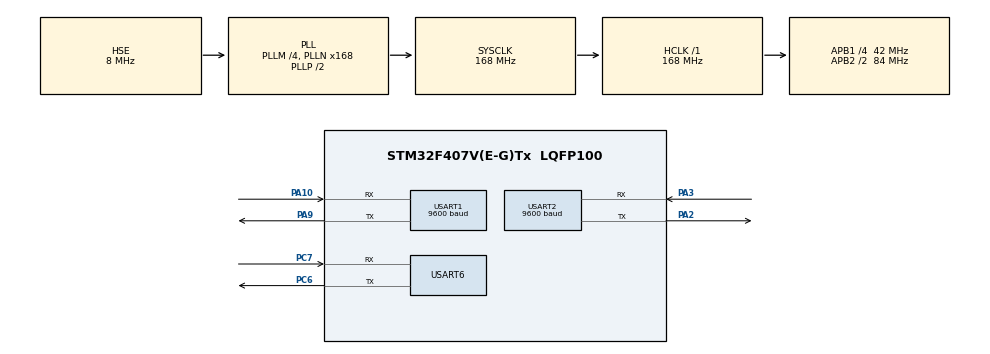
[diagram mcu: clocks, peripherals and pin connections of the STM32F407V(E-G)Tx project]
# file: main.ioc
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Dma.Request0=USART1_RX
Dma.Request1=USART2_RX
Dma.USART1_RX.0.Direction=DMA_PERIPH_TO_MEMORY
Dma.USART1_RX.0.FIFOMode=DMA_FIFOMODE_DISABLE
Dma.USART1_RX.0.Instance=DMA2_Stream2
Dma.USART1_RX.0.MemDataAlignment=DMA_MDATAALIGN_BYTE
Dma.USART1_RX.0.MemInc=DMA_MINC_ENABLE
Dma.USART1_RX.0.Mode=DMA_NORMAL
Dma.USART1_RX.0.PeriphDataAlignment=DMA_PDATAALIGN_BYTE
Dma.USART1_RX.0.PeriphInc=DMA_PINC_DISABLE
Dma.USART1_RX.0.Priority=DMA_PRIORITY_LOW
Dma.USART2_RX.1.Direction=DMA_PERIPH_TO_MEMORY
Dma.USART2_RX.1.FIFOMode=DMA_FIFOMODE_DISABLE
Dma.USART2_RX.1.Instance=DMA1_Stream5
Dma.USART2_RX.1.MemDataAlignment=DMA_MDATAALIGN_BYTE
Dma.USART2_RX.1.MemInc=DMA_MINC_ENABLE
Dma.USART2_RX.1.Mode=DMA_NORMAL
Dma.USART2_RX.1.PeriphDataAlignment=DMA_PDATAALIGN_BYTE
Dma.USART2_RX.1.PeriphInc=DMA_PINC_DISABLE
Dma.USART2_RX.1.Priority=DMA_PRIORITY_HIGH
Mcu.Family=STM32F4
Mcu.Name=STM32F407V(E-G)Tx
Mcu.Package=LQFP100
NVIC.DMA1_Stream5_IRQn=true\:0\:0\:false\:false\:true\:false
NVIC.DMA2_Stream2_IRQn=true\:0\:0\:false\:false\:true\:false
NVIC.PriorityGroup=NVIC_PRIORITYGROUP_4
NVIC.TIM2_IRQn=true\:0\:0\:false\:false\:true\:true
NVIC.USART1_IRQn=true\:0\:0\:false\:false\:true\:true
PA10.Mode=Asynchronous
PA10.Signal=USART1_RX
PA2.Mode=Asynchronous
PA2.Signal=USART2_TX
PA3.Mode=Asynchronous
PA3.Signal=USART2_RX
PA9.Mode=Asynchronous
PA9.Signal=USART1_TX
PC6.Mode=Asynchronous
PC6.Signal=USART6_TX
PC7.Mode=Asynchronous
PC7.Signal=USART6_RX
PH0-OSC_IN.Mode=HSE-External-Oscillator
PH0-OSC_IN.Signal=RCC_OSC_IN
PH1-OSC_OUT.Mode=HSE-External-Oscillator
PH1-OSC_OUT.Signal=RCC_OSC_OUT
ProjectManager.HeapSize=0x200
ProjectManager.StackSize=0x400
ProjectManager.TargetToolchain=MDK-ARM V5
RCC.48MHZClocksFreq_Value=84000000
RCC.AHBFreq_Value=168000000
RCC.APB1CLKDivider=RCC_HCLK_DIV4
RCC.APB1Freq_Value=42000000
RCC.APB1TimFreq_Value=84000000
RCC.APB2CLKDivider=RCC_HCLK_DIV2
RCC.APB2Freq_Value=84000000
RCC.APB2TimFreq_Value=168000000
RCC.CortexFreq_Value=168000000
RCC.HCLKFreq_Value=168000000
RCC.HSE_VALUE=8000000
RCC.HSI_VALUE=16000000
RCC.LSE_VALUE=32768
RCC.PLLM=4
RCC.PLLN=168
RCC.PLLSourceVirtual=RCC_PLLSOURCE_HSE
RCC.SYSCLKFreq_VALUE=168000000
RCC.SYSCLKSource=RCC_SYSCLKSOURCE_PLLCLK
RCC.VCOOutputFreq_Value=336000000
TIM2.Period=19
TIM2.Prescaler=41999
TIM3.Period=7
TIM3.Prescaler=41999
USART1.BaudRate=9600
USART1.VirtualMode=VM_ASYNC
USART2.BaudRate=9600
USART2.VirtualMode=VM_ASYNC
USART6.VirtualMode=VM_ASYNC
VP_TIM2_VS_ClockSourceINT.Mode=Internal
VP_TIM3_VS_ClockSourceINT.Mode=Internal
board=custom

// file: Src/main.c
/**
  ******************************************************************************
  * @file           : main.c
  * @brief          : Main program body
  ******************************************************************************
  ** This notice applies to any and all portions of this file
  * that are not between comment pairs USER CODE BEGIN and
  * USER CODE END. Other portions of this file, whether
  * inserted by the user or by software development tools
  * are owned by their respective copyright owners.
  *
  * COPYRIGHT(c) 2019 STMicroelectronics
  *
  * Redistribution and use in source and binary forms, with or without modification,
  * are permitted provided that the following conditions are met:
  *   1. Redistributions of source code must retain the above copyright notice,
  *      this list of conditions and the following disclaimer.
  *   2. Redistributions in binary form must reproduce the above copyright notice,
  *      this list of conditions and the following disclaimer in the documentation
  *      and/or other materials provided with the distribution.
  *   3. Neither the name of STMicroelectronics nor the names of its contributors
  *      may be used to endorse or promote products derived from this software
  *      without specific prior written permission.
  *
  * THIS SOFTWARE IS PROVIDED BY THE COPYRIGHT HOLDERS AND CONTRIBUTORS "AS IS"
  * AND ANY EXPRESS OR IMPLIED WARRANTIES, INCLUDING, BUT NOT LIMITED TO, THE
  * IMPLIED WARRANTIES OF MERCHANTABILITY AND FITNESS FOR A PARTICULAR PURPOSE ARE
  * DISCLAIMED. IN NO EVENT SHALL THE COPYRIGHT HOLDER OR CONTRIBUTORS BE LIABLE
  * FOR ANY DIRECT, INDIRECT, INCIDENTAL, SPECIAL, EXEMPLARY, OR CONSEQUENTIAL
  * DAMAGES (INCLUDING, BUT NOT LIMITED TO, PROCUREMENT OF SUBSTITUTE GOODS OR
  * SERVICES; LOSS OF USE, DATA, OR PROFITS; OR BUSINESS INTERRUPTION) HOWEVER
  * CAUSED AND ON ANY THEORY OF LIABILITY, WHETHER IN CONTRACT, STRICT LIABILITY,
  * OR TORT (INCLUDING NEGLIGENCE OR OTHERWISE) ARISING IN ANY WAY OUT OF THE USE
  * OF THIS SOFTWARE, EVEN IF ADVISED OF THE POSSIBILITY OF SUCH DAMAGE.
  *
  ******************************************************************************
  */
#include "main.h"
#include "stm32f4xx_hal.h"

/* USER CODE BEGIN Includes */
#include "NeoM8N.h"
#include "getChar.h"
#include <string.h>
#include <stdint.h>
#include <stdio.h>
#include "math.h"
/* USER CODE END Includes */

TIM_HandleTypeDef htim2;
TIM_HandleTypeDef htim3;

UART_HandleTypeDef huart1;
UART_HandleTypeDef huart2;
UART_HandleTypeDef huart6;
DMA_HandleTypeDef hdma_usart1_rx;
DMA_HandleTypeDef hdma_usart2_rx;

/* USER CODE BEGIN PV */
/* Private variables ---------------------------------------------------------*/
char data[120];
float				z;
float			z1;
float				x;
float			x1;
double 			disp2p=0.0f;
double angle=0.0f;
double angle_new=0.0f;

double angel_new_f=0.0f;

//char data_send[13];
char data_send[17];
char data_send_2[21];
char data_receive[21]= {0};
char data_receive_new = '0';
//double bearing_;
//double kc;
//move_to MOVE;
//float z2 = 10.839890; //10.839892, 106.670067 // 35m
//float x2 = 106.670098 ;
float z2,x2;
float t_1 = 10.851287 ; //10.839892;
float t_2 = 106.651787 ; //106.670067;
float test = 1.0;
int st=0;
float t_3 = 10.851308 ; //10.839892;
float t_4 = 106.651938 ; //106.670067;
int _i1;
int _i2;
//10.851347, 106.651883
//10.851308 106.651938

/* USER CODE END PV */

void SystemClock_Config(void);
static void MX_GPIO_Init(void);
static void MX_DMA_Init(void);
static void MX_USART1_UART_Init(void);
static void MX_USART2_UART_Init(void);
static void MX_USART6_UART_Init(void);
static void MX_TIM2_Init(void);
static void MX_TIM3_Init(void);

/* USER CODE BEGIN PFP */
/* Private function prototypes -----------------------------------------------*/

/* USER CODE END PFP */

int main(void)
{

  /* MCU Configuration----------------------------------------------------------*/

  /* Reset of all peripherals, Initializes the Flash interface and the Systick. */
  HAL_Init();

  /* Configure the system clock */
  SystemClock_Config();

  /* Initialize all configured peripherals */
  MX_GPIO_Init();
  MX_DMA_Init();
  MX_USART1_UART_Init();
  MX_USART2_UART_Init();
  MX_USART6_UART_Init();
  MX_TIM2_Init();
  MX_TIM3_Init();
	GPS_Init(&huart1);

	HAL_UART_Receive_DMA(&huart2,(uint8_t*)data_receive,sizeof(data_receive));
	HAL_UART_Transmit(&huart6,(uint8_t*)data_send,sizeof(data_send),1000);
	HAL_Delay(100);
	HAL_UART_Transmit(&huart2,(uint8_t*)data_send_2,sizeof(data_send_2),1000);
	HAL_TIM_Base_Start_IT(&htim2);
	//memset(&data_receive,'0',sizeof(data_receive));
  /* USER CODE BEGIN 2 */
		//HAL_UART_Receive_DMA(&huart1,(uint8_t*)data,120);
  /* USER CODE END 2 */

  /* Infinite loop */
  while (1)
  {

  /* USER CODE BEGIN 3 */

			//	HAL_Delay(1000);
			//HAL_UART_Receive_DMA(&huart1,(uint8_t *) data,120);

		//HAL_UART_Receive_DMA(&huart2,(uint8_t*)data_receive,sizeof(data_receive));

//		GPS_Process(&huart1);
//		z1 = GPS.GNGGA.Latitude ;
//		z =GPS.GNGGA.LatitudeDecimal;
//		x1 = GPS.GNGGA.Longitude;
//		x = GPS.GNGGA.LongitudeDecimal;

		//angle = bearing_Angle(z,x,z2,x2);
		//disp2p = distanceBetween(z,x,z2,x2); // chay dc
//			t_1 = t_1 + 0.001f; //for test
//			t_2= t_2 + 0.001f; //for test
//			t_3 = t_3 + 0.001f; //for test
//			t_4= t_4 +0.001f; //for test
			//angle = bearing_Angle(t_1,t_2,t_3,t_4);
		//	disp2p = distanceBetween(t_1,t_2,t_3,t_4); // chay dc
			//GPS_Process(&huart1);
			//GPS_Process(&huart1);
			z1 = (GPS.GNGGA.Latitude) ;
			z =GPS.GNGGA.LatitudeDecimal*1.000000f;
			x1 = GPS.GNGGA.Longitude;
			x = GPS.GNGGA.LongitudeDecimal*1.00000f;
			angle = bearing_Angle(z,x,z2,x2);
			disp2p = distanceBetween(z,x,z2,x2); // chay dc
			if(z2==0 || x2 ==0 || z1==0 || x1==0){
				angle =0.0f;
				disp2p=0.0f;
				angle_new = 0.0f;
				angel_new_f=0.0f;
			}

			//angle = bearing_Angle(z,x,t_3,t_4);
			//disp2p = distanceBetween(z,x,t_3,t_4); // chay dc

		//sprintf(data_send_2,"%.6f %.6f\r\n",t_3,t_4); //for test
		sprintf(data_send_2,"%.6f %.6f\r\n",z,x);
		HAL_UART_Transmit(&huart2,(uint8_t*)data_send_2,strlen(data_send_2),1000);
		HAL_Delay(2000);

		//t_1 = t_1 + 1.10f; //for test
	//	t_2 = t_2 +1.10f; //for test
		//test = test + 1.10f; //for test

		//sprintf(data_send,"%c %.6f %.6f\r\n",data_receive_new,t_1,t_2); //for test
		//sprintf(data_send,"%c %.6f %.6f\r\n",data_receive_new,angle,disp2p); //for test
//		sprintf(data_send,"%c %.6f %.6f\r\n",data_receive_new,angle_new,disp2p);
//	//	sprintf(data_send,"%0.6.6f,%.6f\r\n",z,x);
//		HAL_UART_Transmit(&huart6,(uint8_t*)data_send,strlen(data_send),2000);
//		HAL_Delay(1000);

  }
  /* USER CODE END 3 */

}

void SystemClock_Config(void)
{

  RCC_OscInitTypeDef RCC_OscInitStruct;
  RCC_ClkInitTypeDef RCC_ClkInitStruct;

    /**Configure the main internal regulator output voltage
    */
  __HAL_RCC_PWR_CLK_ENABLE();

  __HAL_PWR_VOLTAGESCALING_CONFIG(PWR_REGULATOR_VOLTAGE_SCALE1);

    /**Initializes the CPU, AHB and APB busses clocks
    */
  RCC_OscInitStruct.OscillatorType = RCC_OSCILLATORTYPE_HSE;
  RCC_OscInitStruct.HSEState = RCC_HSE_ON;
  RCC_OscInitStruct.PLL.PLLState = RCC_PLL_ON;
  RCC_OscInitStruct.PLL.PLLSource = RCC_PLLSOURCE_HSE;
  RCC_OscInitStruct.PLL.PLLM = 4;
  RCC_OscInitStruct.PLL.PLLN = 168;
  RCC_OscInitStruct.PLL.PLLP = RCC_PLLP_DIV2;
  RCC_OscInitStruct.PLL.PLLQ = 4;
  if (HAL_RCC_OscConfig(&RCC_OscInitStruct) != HAL_OK)
  {
    _Error_Handler(__FILE__, __LINE__);
  }

    /**Initializes the CPU, AHB and APB busses clocks
    */
  RCC_ClkInitStruct.ClockType = RCC_CLOCKTYPE_HCLK|RCC_CLOCKTYPE_SYSCLK
                              |RCC_CLOCKTYPE_PCLK1|RCC_CLOCKTYPE_PCLK2;
  RCC_ClkInitStruct.SYSCLKSource = RCC_SYSCLKSOURCE_PLLCLK;
  RCC_ClkInitStruct.AHBCLKDivider = RCC_SYSCLK_DIV1;
  RCC_ClkInitStruct.APB1CLKDivider = RCC_HCLK_DIV4;
  RCC_ClkInitStruct.APB2CLKDivider = RCC_HCLK_DIV2;

  if (HAL_RCC_ClockConfig(&RCC_ClkInitStruct, FLASH_LATENCY_5) != HAL_OK)
  {
    _Error_Handler(__FILE__, __LINE__);
  }

    /**Configure the Systick interrupt time
    */
  HAL_SYSTICK_Config(HAL_RCC_GetHCLKFreq()/1000);

    /**Configure the Systick
    */
  HAL_SYSTICK_CLKSourceConfig(SYSTICK_CLKSOURCE_HCLK);

  /* SysTick_IRQn interrupt configuration */
  HAL_NVIC_SetPriority(SysTick_IRQn, 0, 0);
}

/* TIM2 init function */
static void MX_TIM2_Init(void)
{

  TIM_ClockConfigTypeDef sClockSourceConfig;
  TIM_MasterConfigTypeDef sMasterConfig;

  htim2.Instance = TIM2;
  htim2.Init.Prescaler = 41999;
  htim2.Init.CounterMode = TIM_COUNTERMODE_UP;
  htim2.Init.Period = 19;
  htim2.Init.ClockDivision = TIM_CLOCKDIVISION_DIV1;
  if (HAL_TIM_Base_Init(&htim2) != HAL_OK)
  {
    _Error_Handler(__FILE__, __LINE__);
  }

  sClockSourceConfig.ClockSource = TIM_CLOCKSOURCE_INTERNAL;
  if (HAL_TIM_ConfigClockSource(&htim2, &sClockSourceConfig) != HAL_OK)
  {
    _Error_Handler(__FILE__, __LINE__);
  }

  sMasterConfig.MasterOutputTrigger = TIM_TRGO_RESET;
  sMasterConfig.MasterSlaveMode = TIM_MASTERSLAVEMODE_DISABLE;
  if (HAL_TIMEx_MasterConfigSynchronization(&htim2, &sMasterConfig) != HAL_OK)
  {
    _Error_Handler(__FILE__, __LINE__);
  }

}

/* TIM3 init function */
static void MX_TIM3_Init(void)
{

  TIM_ClockConfigTypeDef sClockSourceConfig;
  TIM_MasterConfigTypeDef sMasterConfig;

  htim3.Instance = TIM3;
  htim3.Init.Prescaler = 41999;
  htim3.Init.CounterMode = TIM_COUNTERMODE_UP;
  htim3.Init.Period = 7;
  htim3.Init.ClockDivision = TIM_CLOCKDIVISION_DIV1;
  if (HAL_TIM_Base_Init(&htim3) != HAL_OK)
  {
    _Error_Handler(__FILE__, __LINE__);
  }

  sClockSourceConfig.ClockSource = TIM_CLOCKSOURCE_INTERNAL;
  if (HAL_TIM_ConfigClockSource(&htim3, &sClockSourceConfig) != HAL_OK)
  {
    _Error_Handler(__FILE__, __LINE__);
  }

  sMasterConfig.MasterOutputTrigger = TIM_TRGO_RESET;
  sMasterConfig.MasterSlaveMode = TIM_MASTERSLAVEMODE_DISABLE;
  if (HAL_TIMEx_MasterConfigSynchronization(&htim3, &sMasterConfig) != HAL_OK)
  {
    _Error_Handler(__FILE__, __LINE__);
  }

}

/* USART1 init function */
static void MX_USART1_UART_Init(void)
{

  huart1.Instance = USART1;
  huart1.Init.BaudRate = 9600;
  huart1.Init.WordLength = UART_WORDLENGTH_8B;
  huart1.Init.StopBits = UART_STOPBITS_1;
  huart1.Init.Parity = UART_PARITY_NONE;
  huart1.Init.Mode = UART_MODE_TX_RX;
  huart1.Init.HwFlowCtl = UART_HWCONTROL_NONE;
  huart1.Init.OverSampling = UART_OVERSAMPLING_16;
  if (HAL_UART_Init(&huart1) != HAL_OK)
  {
    _Error_Handler(__FILE__, __LINE__);
  }

}

/* USART2 init function */
static void MX_USART2_UART_Init(void)
{

  huart2.Instance = USART2;
  huart2.Init.BaudRate = 9600;
  huart2.Init.WordLength = UART_WORDLENGTH_8B;
  huart2.Init.StopBits = UART_STOPBITS_1;
  huart2.Init.Parity = UART_PARITY_NONE;
  huart2.Init.Mode = UART_MODE_TX_RX;
  huart2.Init.HwFlowCtl = UART_HWCONTROL_NONE;
  huart2.Init.OverSampling = UART_OVERSAMPLING_16;
  if (HAL_UART_Init(&huart2) != HAL_OK)
  {
    _Error_Handler(__FILE__, __LINE__);
  }

}

/* USART6 init function */
static void MX_USART6_UART_Init(void)
{

  huart6.Instance = USART6;
  huart6.Init.BaudRate = 115200;
  huart6.Init.WordLength = UART_WORDLENGTH_8B;
  huart6.Init.StopBits = UART_STOPBITS_1;
  huart6.Init.Parity = UART_PARITY_NONE;
  huart6.Init.Mode = UART_MODE_TX_RX;
  huart6.Init.HwFlowCtl = UART_HWCONTROL_NONE;
  huart6.Init.OverSampling = UART_OVERSAMPLING_16;
  if (HAL_UART_Init(&huart6) != HAL_OK)
  {
    _Error_Handler(__FILE__, __LINE__);
  }

}

static void MX_DMA_Init(void)
{
  /* DMA controller clock enable */
  __HAL_RCC_DMA2_CLK_ENABLE();
  __HAL_RCC_DMA1_CLK_ENABLE();

  /* DMA interrupt init */
  /* DMA1_Stream5_IRQn interrupt configuration */
  HAL_NVIC_SetPriority(DMA1_Stream5_IRQn, 0, 0);
  HAL_NVIC_EnableIRQ(DMA1_Stream5_IRQn);
  /* DMA2_Stream2_IRQn interrupt configuration */
  HAL_NVIC_SetPriority(DMA2_Stream2_IRQn, 0, 0);
  HAL_NVIC_EnableIRQ(DMA2_Stream2_IRQn);

}

/** Configure pins as
        * Analog
        * Input
        * Output
        * EVENT_OUT
        * EXTI
*/
static void MX_GPIO_Init(void)
{

  /* GPIO Ports Clock Enable */
  __HAL_RCC_GPIOH_CLK_ENABLE();
  __HAL_RCC_GPIOA_CLK_ENABLE();
  __HAL_RCC_GPIOC_CLK_ENABLE();

}

/* USER CODE BEGIN 4 */
void HAL_UART_RxCpltCallback(UART_HandleTypeDef *huart)
{
		if (huart->Instance==huart1.Instance){
			GPS_CallBack(&huart1);
		}
		 if (huart->Instance==huart2.Instance)
	{
		st=1;
		HAL_UART_Receive_DMA(&huart2,(uint8_t*)data_receive,sizeof(data_receive));
		z2 = _getLat2(data_receive);
		x2 = _getLong2(data_receive);
		data_receive_new = data_receive[0];
		//_i1 = 0;
		//memset(&data_send,0,sizeof(data_send));
		//HAL_UART_Transmit(&huart2,(uint8_t*)data_send_2,strlen(data_send_2),1000);
		//HAL_Delay(1000);
	//	HAL_UART_Transmit(&huart2,(uint8_t*)data_send,sizeof(data_send),1000);

			//HAL_UART_Transmit(&huart1,(uint8_t*)data_send,strlen(data_send),1000);
		if(data_receive[0] == '0'){
				memset(&data_send,'0',sizeof(data_send));

		}

	}
}

void TIM2_IRQHandler(void)
{
  /* USER CODE BEGIN TIM2_IRQn 0 */
	_i2++;
	if(_i2>=50){
		GPS_Process(&huart1);
//		z1 = (GPS.GNGGA.Latitude) ;
//			z =GPS.GNGGA.LatitudeDecimal*1.000000f;
//			x1 = GPS.GNGGA.Longitude;
//			x = GPS.GNGGA.LongitudeDecimal*1.00000f;
		//GPS_Init(&huart1);

		_i2=0;
	}

	_i1++;
	angle_new = fabs(angle-90.0f-9.1f);
//	if(angle>180){
//		angle_new = fabs(angle-270.0f-9.1f);
//	}
//	else{
//		angle_new = fabs(angle-90.0f-9.1f);
//	}
	angel_new_f = filter_low(angle_new);
	if(z2==0 || x2 ==0 || z1==0 || x1==0){
				//angle =0.0f;
				//disp2p=0.0f;
				angel_new_f=0.0f;
				angle_new = 0.0f;
			//	memset(&data_send,'0',sizeof(data_send));
			}
	data_receive_new = data_receive[0];
	if(_i1>=100){
			//sprintf(data_send,"%c %.2f %.2f\r\n",data_receive_new,angel_new_f,disp2p);
			sprintf(data_send,"%c %.2f %.2f",data_receive_new,angel_new_f,disp2p);

	//	sprintf(data_send,"%0.6.6f,%.6f\r\n",z,x);
			HAL_UART_Transmit(&huart6,(uint8_t*)data_send,strlen(data_send),1000);
		_i1=0;
	}

  /* USER CODE END TIM2_IRQn 0 */
  HAL_TIM_IRQHandler(&htim2);
  /* USER CODE BEGIN TIM2_IRQn 1 */

  /* USER CODE END TIM2_IRQn 1 */
}

/* USER CODE END 4 */

void _Error_Handler(char *file, int line)
{
  while(1)
  {
  }
}

/************************ (C) COPYRIGHT STMicroelectronics *****END OF FILE****/
